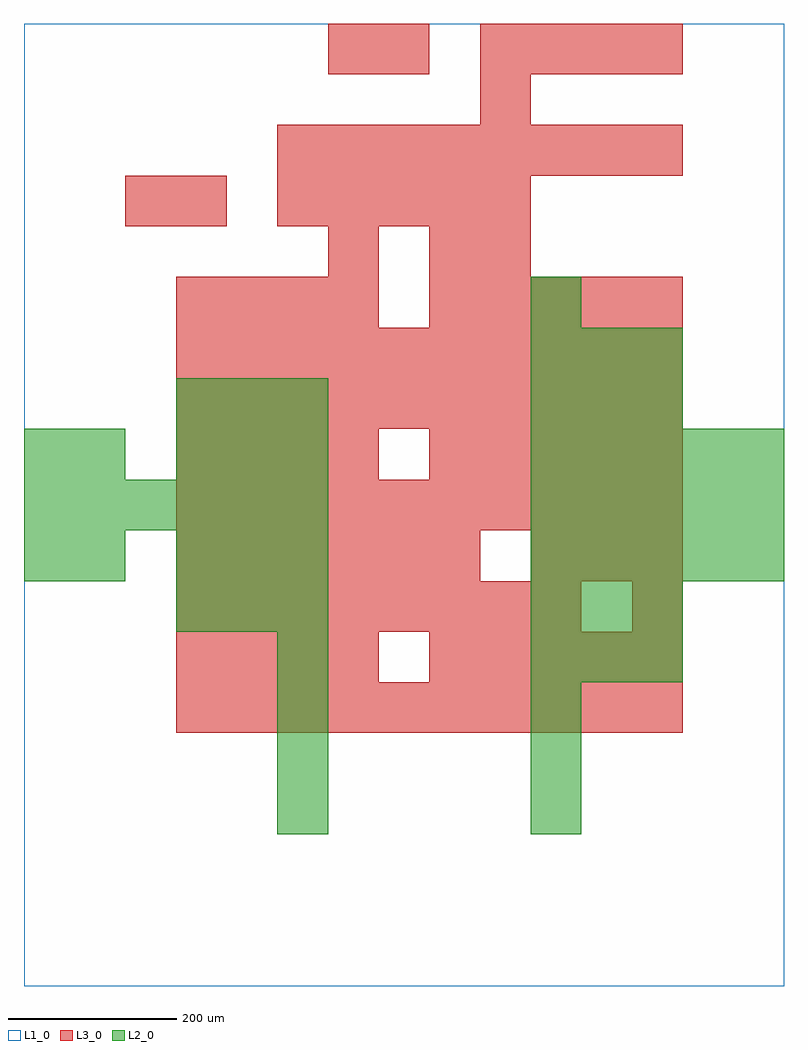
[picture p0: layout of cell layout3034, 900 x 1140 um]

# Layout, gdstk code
import gdstk
lib = gdstk.Library(unit=1e-6, precision=1e-09)
def R(c, l, rs):  # rectangles x0, y0, x1, y1
    for r in rs: c.add(gdstk.rectangle(r[:2], r[2:], *l))
def A(c, l, x, y, w, h, nx, ny, dx, dy):  # array of equal rectangles
    R(c, l, [(x+i*dx, y+j*dy, x+i*dx+w, y+j*dy+h) for i in range(nx) for j in range(ny)])
L1_0 = (1, 0)
L2_0 = (2, 0)
L3_0 = (3, 0)

layout3034 = lib.new_cell('layout3034')
R(layout3034, L1_0, [(0,0,900,1140)])
A(layout3034, L2_0, 300, 180, 60, 60, 1, 4, 0, 60)
A(layout3034, L2_0, 600, 180, 60, 60, 1, 3, 0, 60)
A(layout3034, L2_0, 600, 360, 60, 60, 3, 2, 60, 60)
A(layout3034, L2_0, 180, 420, 60, 60, 3, 2, 60, 60)
A(layout3034, L2_0, 600, 480, 60, 60, 5, 3, 60, 60)
A(layout3034, L2_0, 0, 540, 60, 60, 6, 1, 60, 0)
A(layout3034, L2_0, 180, 600, 60, 60, 3, 2, 60, 60)
A(layout3034, L2_0, 600, 660, 60, 60, 3, 2, 60, 60)
R(layout3034, L2_0, [(0,480,60,540), (60,480,120,540), (0,600,60,660), (60,600,120,660), (600,780,660,840)])
A(layout3034, L3_0, 180, 300, 60, 60, 10, 2, 60, 240)
A(layout3034, L3_0, 180, 360, 60, 60, 4, 2, 60, 240)
A(layout3034, L3_0, 480, 360, 60, 60, 5, 2, 60, 240)
A(layout3034, L3_0, 180, 420, 60, 60, 8, 1, 60, 0)
A(layout3034, L3_0, 180, 480, 60, 60, 6, 1, 60, 0)
A(layout3034, L3_0, 600, 480, 60, 60, 3, 1, 60, 0)
A(layout3034, L3_0, 180, 660, 60, 60, 10, 2, 60, 60)
A(layout3034, L3_0, 180, 780, 60, 60, 4, 1, 60, 0)
A(layout3034, L3_0, 480, 780, 60, 60, 5, 1, 60, 0)
A(layout3034, L3_0, 300, 900, 60, 60, 5, 1, 60, 0)
A(layout3034, L3_0, 300, 960, 60, 60, 8, 1, 60, 0)
A(layout3034, L3_0, 540, 1080, 60, 60, 4, 1, 60, 0)
R(layout3034, L3_0, [(720,420,780,480), (360,840,420,900), (480,840,540,900), (540,840,600,900), (120,900,180,960), (180,900,240,960), (540,1020,600,1080), (360,1080,420,1140), (420,1080,480,1140)])

lib.write_gds('layout3034.gds')
